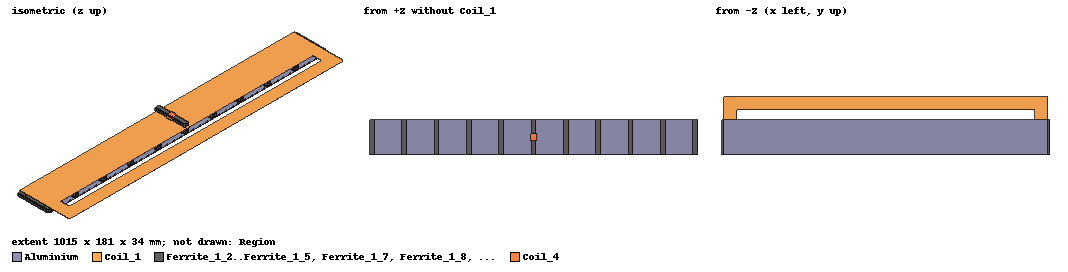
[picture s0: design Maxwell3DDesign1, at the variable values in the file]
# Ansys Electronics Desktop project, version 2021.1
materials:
  vacuum: permittivity=1
  copper: permeability=0.999991 conductivity=58000000
  ferrite: permittivity=12 permeability=1000 conductivity=0.01
  aluminum: permeability=1.000021 conductivity=38000000
  pec: conductivity=1e+30

design Maxwell3DDesign1 (Maxwell 3D, Magnetostatic, model units mm)
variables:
  Length = 100cm
  Width = 18.1cm
  Height = 0.1cm
  Thickness = 109mm
  SmallThickness = 40mm
  N = 10
  I = 10A
  y_dist = 0mm
  dZ = 5mm
  Ferrite_dist = 5mm
  sheet_dist = 15mm
  coil_dist = 30mm
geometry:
  Coil_1 [copper] = box(corner=(0mm, -0.5*Thickness, 0mm), size=(Length, Width, Height))
  Coil1 = box(corner=(SmallThickness, 0.5*Thickness, 0mm), size=(Length - SmallThickness - SmallThickness, Width - 109mm- SmallThickness, Height))
  Coil_1.subtract(Coil1)
  Coil_1.move(-(Length/2), 0mm, 0mm)
  Coil_Section1 = Coil_1.section(plane=YZ)
  Coil_Section1_Separate1 [copper] = Coil_Section1.separate_bodies()
  Coil_Section1.delete()
  Ferrite_2 [ferrite] = box(corner=(-9mm + 1.5mm, y_dist-54.5mm, dZ + Height +1mm), size=(15mm, 109mm, 9mm))
  Aluminium [pec] = box(corner=(-Length/2, -0.5*Thickness, -sheet_dist-2mm), size=(1000mm, Thickness, 2mm))
  Ferrite_1 [ferrite] = box(corner=(-9mm + 1.5mm, y_dist-54.5mm, -Ferrite_dist-8mm), size=(15mm, 109mm, 9mm))
  Ferrite_1_1..Ferrite_1_5 [ferrite] = Ferrite_1.duplicate_along_line(step=(-100mm, 0mm, 0mm), total=6)
  Ferrite_1_6..Ferrite_1_10 [ferrite] = Ferrite_1.duplicate_along_line(step=(100mm, 0mm, 0mm), total=6)
  Region [vacuum] = region(percentage_offset: +X=250, -X=250, +Y=750, -Y=750, +Z=1000, -Z=800)
  Coil_4 [copper] = box(corner=(-9mm, y_dist-10mm, dZ+Height), size=(18mm, 20mm, 11mm))
  Coil_5 = box(corner=(-9mm + 1.5mm, y_dist-10mm, dZ + Height+1mm), size=(15mm, 20mm, 9mm))
  Coil_4.subtract(Coil_5)
  Coil_4_Section1 = Coil_4.section(plane=YZ)
  Coil_4_Section1_Separate1 [copper] = Coil_4_Section1.separate_bodies()
  Coil_4_Section1.delete()
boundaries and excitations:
  Tx: Current Objects=Coil_Section1_Separate1 Current=N*I IsSolid=false Point_out_of_terminal=false
  Current1: Current Objects=Coil_4_Section1_Separate1 Current=1A IsSolid=false Point_out_of_terminal=false
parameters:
  Matrix1: Matrix Current1, Tx: NumberOfTurns=1
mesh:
  initial mesh: GlobalCurvilinear{Apply}
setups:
  Setup1: Magnetostatic MaximumPasses=25 MinimumPasses=2 MinimumConvergedPasses=1 PercentRefinement=30 PercentError=1 NonLinearResidual=0.001
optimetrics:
  ParametricSetup1: Parametric Sim._Setups=[Setup1]
    sweep dZ: LIN 2mm 5.5mm 0.5mm
    calculate L_Tx on Setup1 : LastAdaptive
    calculate L_Current1 on Setup1 : LastAdaptive
    calculate k_1 on Setup1 : LastAdaptive
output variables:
  L_Tx = Matrix1.L(Tx,Tx)
  L_Current1 = Matrix1.L(Current1,Current1)
  k_1 = abs(Matrix1.CplCoef(Tx,Current1))
